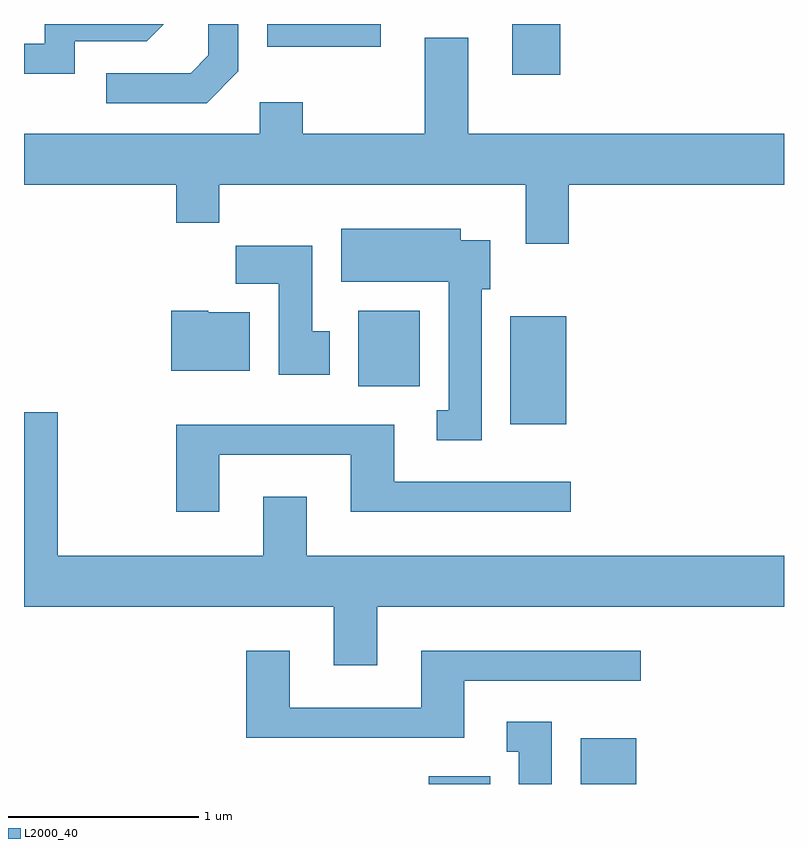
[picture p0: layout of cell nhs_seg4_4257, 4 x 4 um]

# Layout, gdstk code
import gdstk
lib = gdstk.Library(unit=1e-6, precision=1e-09)
def R(c, l, rs):  # rectangles x0, y0, x1, y1
    for r in rs: c.add(gdstk.rectangle(r[:2], r[2:], *l))
def P(c, l, *ps):  # polygons
    for p in ps: c.add(gdstk.Polygon(p, *l))
L2000_40 = (2000, 40)

nhs_seg4_4257 = lib.new_cell('nhs_seg4_4257')
R(nhs_seg4_4257, L2000_40, [(311.741,1335.982,312.064,1336.024), (312.541,1335.982,312.834,1336.224), (312.171,1337.876,312.464,1338.444), (311.371,1338.076,311.694,1338.474), (312.181,1339.716,312.434,1339.982), (310.891,1339.861,311.489,1339.982)])
P(nhs_seg4_4257, L2000_40, [(309.879,1339.891),(310.257,1339.891),(310.347,1339.982),(309.721,1339.982),(309.721,1339.879),(309.611,1339.879),(309.611,1339.721),(309.879,1339.721)],
  [(310.739,1339.734),(310.739,1339.982),(310.581,1339.982),(310.581,1339.817),(310.489,1339.724),(310.043,1339.724),(310.043,1339.566),(310.572,1339.566)],
  [(312.479,1339.136),(313.611,1339.136),(313.611,1339.404),(311.949,1339.404),(311.949,1339.909),(311.721,1339.909),(311.721,1339.404),(311.079,1339.404),(311.079,1339.569),(310.851,1339.569),(310.851,1339.404),(309.611,1339.404),(309.611,1339.136),(310.411,1339.136),(310.411,1338.936),(310.639,1338.936),(310.639,1339.136),(312.251,1339.136),(312.251,1338.826),(312.479,1338.826)],
  [(312.019,1338.586),(312.064,1338.586),(312.064,1338.844),(311.909,1338.844),(311.909,1338.904),(311.281,1338.904),(311.281,1338.626),(311.846,1338.626),(311.846,1337.949),(311.783,1337.949),(311.783,1337.791),(312.019,1337.791)],
  [(311.219,1338.364),(311.129,1338.364),(311.129,1338.814),(310.726,1338.814),(310.726,1338.616),(310.951,1338.616),(310.951,1338.136),(311.219,1338.136)],
  [(310.799,1338.464),(310.58,1338.464),(310.58,1338.474),(310.386,1338.474),(310.386,1338.156),(310.799,1338.156)],
  [(311.469,1336.916),(313.611,1336.916),(313.611,1337.184),(311.099,1337.184),(311.099,1337.494),(310.871,1337.494),(310.871,1337.184),(309.789,1337.184),(309.789,1337.939),(309.611,1337.939),(309.611,1336.916),(311.241,1336.916),(311.241,1336.606),(311.469,1336.606)],
  [(310.639,1337.716),(311.331,1337.716),(311.331,1337.416),(312.488,1337.416),(312.488,1337.574),(311.559,1337.574),(311.559,1337.874),(310.411,1337.874),(310.411,1337.416),(310.639,1337.416)],
  [(311.929,1336.526),(312.858,1336.526),(312.858,1336.684),(311.701,1336.684),(311.701,1336.384),(311.009,1336.384),(311.009,1336.684),(310.781,1336.684),(310.781,1336.226),(311.929,1336.226)],
  [(312.389,1336.309),(312.153,1336.309),(312.153,1336.151),(312.216,1336.151),(312.216,1335.982),(312.389,1335.982)])

lib.write_gds('nhs_seg4_4257.gds')
